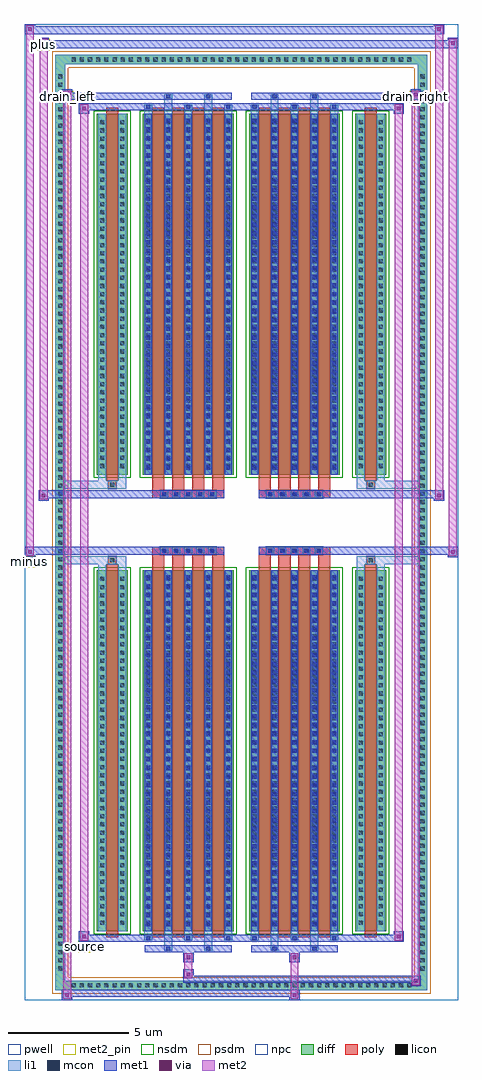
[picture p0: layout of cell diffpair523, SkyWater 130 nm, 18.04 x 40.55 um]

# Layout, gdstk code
import gdstk
lib = gdstk.Library(unit=1e-6, precision=5e-09)
def R(c, l, rs):  # rectangles x0, y0, x1, y1
    for r in rs: c.add(gdstk.rectangle(r[:2], r[2:], *l))
def A(c, l, x, y, w, h, nx, ny, dx, dy):  # array of equal rectangles
    R(c, l, [(x+i*dx, y+j*dy, x+i*dx+w, y+j*dy+h) for i in range(nx) for j in range(ny)])
def P(c, l, *ps):  # polygons
    for p in ps: c.add(gdstk.Polygon(p, *l))
pwell = (64, 44)
diff = (65, 20)
poly = (66, 20)
licon = (66, 44)
li1 = (67, 20)
mcon = (67, 44)
met1 = (68, 20)
via = (68, 44)
met2_pin = (69, 16)
met2 = (69, 20)
nsdm = (93, 44)
psdm = (94, 20)
npc = (95, 20)

diffpair523 = lib.new_cell('diffpair523')
R(diffpair523, pwell, [(-9,-19.84,9,20.71), (-6.32,-18.03,-0.01,-0.805), (0.01,-18.03,6.32,-0.805), (-6.32,0.805,-0.01,18.03), (0.01,0.805,6.32,18.03)])
A(diffpair523, diff, -7.175, -19.44, 0.41, 0.41, 42, 2, 0.34, 38.47)
A(diffpair523, diff, -7.73, -18.735, 0.41, 0.41, 1, 110, 0, 0.34)
A(diffpair523, diff, 7.32, -18.735, 0.41, 0.41, 1, 110, 0, 0.34)
R(diffpair523, diff, [(-7.175,-19.44,7.175,-19.03), (-7.73,-18.735,-7.32,18.735), (7.32,-18.735,7.73,18.735), (-6.01,-16.985,-4.73,-1.985), (-4.09,-16.985,-0.32,-1.985), (0.32,-16.985,4.09,-1.985), (4.73,-16.985,6.01,-1.985), (-6.01,1.985,-4.73,16.985), (-4.09,1.985,-0.32,16.985), (0.32,1.985,4.09,16.985), (4.73,1.985,6.01,16.985), (-7.175,19.03,7.175,19.44)])
P(diffpair523, diff, [(7.73,19.44),(-7.73,19.44),(-7.73,-19.03),(-7.32,-19.03),(-7.32,19.03),(7.32,19.03),(7.32,-19.03),(-7.32,-19.03),(-7.73,-19.03),(-7.73,-19.44),(7.73,-19.44)])
A(diffpair523, poly, -3.7, -17.235, 0.5, 15.5, 4, 2, 0.83, 18.97)
A(diffpair523, poly, 0.71, -17.235, 0.5, 15.5, 4, 2, 0.83, 18.97)
A(diffpair523, poly, -3.7, -1.735, 0.5, 0.4, 4, 2, 0.83, 3.07)
A(diffpair523, poly, 0.71, -1.735, 0.5, 0.4, 4, 2, 0.83, 3.07)
A(diffpair523, poly, -3.37, -1.335, 0.33, 0.33, 5, 2, 0.5, 2.34)
A(diffpair523, poly, 1.04, -1.335, 0.33, 0.33, 5, 2, 0.5, 2.34)
R(diffpair523, poly, [(-5.62,-17.235,-5.12,-1.735), (5.12,-17.235,5.62,-1.735), (-5.535,-1.735,-5.205,-1.405), (-5.535,-1.735,-5.205,-1.405), (5.205,-1.735,5.535,-1.405), (5.205,-1.735,5.535,-1.405), (-3.7,-1.335,-0.71,-1.005), (0.71,-1.335,3.7,-1.005), (-3.7,1.005,-0.71,1.335), (0.71,1.005,3.7,1.335), (-5.535,1.405,-5.205,1.735), (-5.535,1.405,-5.205,1.735), (5.205,1.405,5.535,1.735), (5.205,1.405,5.535,1.735), (-5.62,1.735,-5.12,17.235), (5.12,1.735,5.62,17.235)])
A(diffpair523, licon, -7.055, -19.32, 0.17, 0.17, 42, 2, 0.34, 38.47)
A(diffpair523, licon, -7.61, -18.615, 0.17, 0.17, 1, 110, 0, 0.34)
A(diffpair523, licon, 7.44, -18.615, 0.17, 0.17, 1, 110, 0, 0.34)
A(diffpair523, licon, -5.87, -16.71, 0.17, 0.17, 1, 43, 0, 0.34)
A(diffpair523, licon, -5.04, -16.71, 0.17, 0.17, 1, 43, 0, 0.34)
A(diffpair523, licon, -3.95, -16.71, 0.17, 0.17, 5, 43, 0.83, 0.34)
A(diffpair523, licon, 0.46, -16.71, 0.17, 0.17, 5, 43, 0.83, 0.34)
A(diffpair523, licon, 4.87, -16.71, 0.17, 0.17, 1, 43, 0, 0.34)
A(diffpair523, licon, 5.7, -16.71, 0.17, 0.17, 1, 43, 0, 0.34)
A(diffpair523, licon, -3.29, -1.255, 0.17, 0.17, 5, 2, 0.5, 2.34)
A(diffpair523, licon, 1.12, -1.255, 0.17, 0.17, 5, 2, 0.5, 2.34)
A(diffpair523, licon, -5.87, 2.26, 0.17, 0.17, 1, 43, 0, 0.34)
A(diffpair523, licon, -5.04, 2.26, 0.17, 0.17, 1, 43, 0, 0.34)
A(diffpair523, licon, -3.95, 2.26, 0.17, 0.17, 5, 43, 0.83, 0.34)
A(diffpair523, licon, 0.46, 2.26, 0.17, 0.17, 5, 43, 0.83, 0.34)
A(diffpair523, licon, 4.87, 2.26, 0.17, 0.17, 1, 43, 0, 0.34)
A(diffpair523, licon, 5.7, 2.26, 0.17, 0.17, 1, 43, 0, 0.34)
R(diffpair523, licon, [(-5.455,-1.655,-5.285,-1.485), (5.285,-1.655,5.455,-1.485), (-5.455,1.485,-5.285,1.655), (5.285,1.485,5.455,1.655)])
A(diffpair523, li1, -7.135, -19.4, 0.33, 0.33, 42, 2, 0.34, 38.47)
A(diffpair523, li1, -7.69, -18.695, 0.33, 0.33, 1, 110, 0, 0.34)
A(diffpair523, li1, 7.36, -18.695, 0.33, 0.33, 1, 110, 0, 0.34)
A(diffpair523, li1, -4.03, -17.36, 0.33, 0.375, 3, 2, 1.66, 34.345)
A(diffpair523, li1, -3.95, -17.36, 0.17, 0.17, 3, 2, 1.66, 34.55)
A(diffpair523, li1, 0.38, -17.36, 0.33, 0.375, 3, 2, 1.66, 34.345)
A(diffpair523, li1, 0.46, -17.36, 0.17, 0.17, 3, 2, 1.66, 34.55)
A(diffpair523, li1, -4.03, -16.985, 0.33, 15, 5, 2, 0.83, 18.97)
A(diffpair523, li1, 0.38, -16.985, 0.33, 15, 5, 2, 0.83, 18.97)
A(diffpair523, li1, -5.95, -16.79, 0.33, 0.33, 1, 43, 0, 0.34)
A(diffpair523, li1, -5.12, -16.79, 0.33, 0.33, 1, 43, 0, 0.34)
A(diffpair523, li1, -4.03, -16.79, 0.33, 0.33, 5, 43, 0.83, 0.34)
A(diffpair523, li1, 0.38, -16.79, 0.33, 0.33, 5, 43, 0.83, 0.34)
A(diffpair523, li1, 4.79, -16.79, 0.33, 0.33, 1, 43, 0, 0.34)
A(diffpair523, li1, 5.62, -16.79, 0.33, 0.33, 1, 43, 0, 0.34)
A(diffpair523, li1, -3.95, -16.77, 0.17, 0.17, 5, 41, 0.83, 0.36)
A(diffpair523, li1, -3.95, -16.77, 0.17, 14.57, 5, 2, 0.83, 18.97)
A(diffpair523, li1, 0.46, -16.77, 0.17, 0.17, 5, 41, 0.83, 0.36)
A(diffpair523, li1, 0.46, -16.77, 0.17, 14.57, 5, 2, 0.83, 18.97)
A(diffpair523, li1, -3.37, -1.335, 0.33, 0.33, 5, 2, 0.5, 2.34)
A(diffpair523, li1, 1.04, -1.335, 0.33, 0.33, 5, 2, 0.5, 2.34)
A(diffpair523, li1, -5.95, 2.18, 0.33, 0.33, 1, 43, 0, 0.34)
A(diffpair523, li1, -5.12, 2.18, 0.33, 0.33, 1, 43, 0, 0.34)
A(diffpair523, li1, -4.03, 2.18, 0.33, 0.33, 5, 43, 0.83, 0.34)
A(diffpair523, li1, 0.38, 2.18, 0.33, 0.33, 5, 43, 0.83, 0.34)
A(diffpair523, li1, 4.79, 2.18, 0.33, 0.33, 1, 43, 0, 0.34)
A(diffpair523, li1, 5.62, 2.18, 0.33, 0.33, 1, 43, 0, 0.34)
A(diffpair523, li1, -3.95, 2.2, 0.17, 0.17, 5, 41, 0.83, 0.36)
A(diffpair523, li1, 0.46, 2.2, 0.17, 0.17, 5, 41, 0.83, 0.36)
R(diffpair523, li1, [(-7.73,-19.44,-7.32,-19.03), (-7.73,-19.44,-7.32,-19.03), (-7.32,-19.44,7.32,-19.03), (7.32,-19.44,7.73,-19.03), (7.32,-19.44,7.73,-19.03), (-7.73,-19.03,-7.32,19.03), (7.32,-19.03,7.73,19.03), (-3.2,-17.79,-2.87,-16.985), (-3.12,-17.79,-2.95,-17.62), (-1.54,-17.79,-1.21,-16.985), (-1.46,-17.79,-1.29,-17.62), (1.21,-17.79,1.54,-16.985), (1.29,-17.79,1.46,-17.62), (2.87,-17.79,3.2,-16.985), (2.95,-17.79,3.12,-17.62), (-5.95,-16.985,-5.62,-1.985), (-5.12,-16.985,-4.79,-1.985), (4.79,-16.985,5.12,-1.985), (5.62,-16.985,5.95,-1.985), (-5.95,-1.985,-5.62,-1.405), (-5.12,-1.985,-4.79,-1.405), (4.79,-1.985,5.12,-1.405), (5.62,-1.985,5.95,-1.405), (-7.73,-1.735,-5.535,-1.405), (-5.95,-1.735,-5.535,-1.405), (-5.535,-1.735,-5.205,-1.405), (-5.205,-1.735,-4.79,-1.405), (4.79,-1.735,5.205,-1.405), (5.205,-1.735,5.535,-1.405), (5.205,-1.735,7.73,-1.405), (5.535,-1.735,5.95,-1.405), (-7.73,1.405,-5.535,1.735), (-5.95,1.405,-5.535,1.735), (-5.95,1.405,-5.62,1.985), (-5.535,1.405,-5.205,1.735), (-5.205,1.405,-4.79,1.735), (-5.12,1.405,-4.79,1.985), (4.79,1.405,5.205,1.735), (4.79,1.405,5.12,1.985), (5.205,1.405,5.535,1.735), (5.205,1.405,7.73,1.735), (5.535,1.405,5.95,1.735), (5.62,1.405,5.95,1.985), (-5.95,1.985,-5.62,16.985), (-5.12,1.985,-4.79,16.985), (4.79,1.985,5.12,16.985), (5.62,1.985,5.95,16.985), (-3.2,16.985,-2.87,17.79), (-1.54,16.985,-1.21,17.79), (1.21,16.985,1.54,17.79), (2.87,16.985,3.2,17.79), (-3.12,17.62,-2.95,17.79), (-1.46,17.62,-1.29,17.79), (1.29,17.62,1.46,17.79), (2.95,17.62,3.12,17.79), (-7.73,19.03,-7.32,19.44), (-7.73,19.03,-7.32,19.44), (-7.32,19.03,7.32,19.44), (7.32,19.03,7.73,19.44), (7.32,19.03,7.73,19.44)])
A(diffpair523, mcon, -3.95, -17.36, 0.17, 0.17, 3, 2, 1.66, 34.55)
A(diffpair523, mcon, 0.46, -17.36, 0.17, 0.17, 3, 2, 1.66, 34.55)
A(diffpair523, mcon, -3.95, -16.77, 0.17, 0.17, 5, 41, 0.83, 0.36)
A(diffpair523, mcon, 0.46, -16.77, 0.17, 0.17, 5, 41, 0.83, 0.36)
A(diffpair523, mcon, -3.29, -1.255, 0.17, 0.17, 5, 2, 0.5, 2.34)
A(diffpair523, mcon, 1.12, -1.255, 0.17, 0.17, 5, 2, 0.5, 2.34)
A(diffpair523, mcon, -3.95, 2.2, 0.17, 0.17, 5, 41, 0.83, 0.36)
A(diffpair523, mcon, 0.46, 2.2, 0.17, 0.17, 5, 41, 0.83, 0.36)
R(diffpair523, mcon, [(-3.12,-17.79,-2.95,-17.62), (-1.46,-17.79,-1.29,-17.62), (1.29,-17.79,1.46,-17.62), (2.95,-17.79,3.12,-17.62), (-3.12,17.62,-2.95,17.79), (-1.46,17.62,-1.29,17.79), (1.29,17.62,1.46,17.79), (2.95,17.62,3.12,17.79)])
A(diffpair523, met1, -4.01, -17.42, 0.29, 0.29, 3, 2, 1.66, 34.55)
A(diffpair523, met1, 0.4, -17.42, 0.29, 0.29, 3, 2, 1.66, 34.55)
A(diffpair523, met1, -4.01, -16.985, 0.29, 15, 5, 2, 0.83, 18.97)
A(diffpair523, met1, 0.4, -16.985, 0.29, 15, 5, 2, 0.83, 18.97)
A(diffpair523, met1, -4.01, -16.83, 0.29, 0.29, 5, 41, 0.83, 0.36)
A(diffpair523, met1, 0.4, -16.83, 0.29, 0.29, 5, 41, 0.83, 0.36)
A(diffpair523, met1, -3.35, -1.315, 0.29, 0.29, 5, 2, 0.5, 2.34)
A(diffpair523, met1, 1.06, -1.315, 0.29, 0.29, 5, 2, 0.5, 2.34)
A(diffpair523, met1, -4.01, 2.14, 0.29, 0.29, 5, 41, 0.83, 0.36)
A(diffpair523, met1, 0.4, 2.14, 0.29, 0.29, 5, 41, 0.83, 0.36)
R(diffpair523, met1, [(-7.46,-19.84,-7.03,-19.41), (1.99,-19.84,2.42,-19.41), (-7.46,-19.7,2.42,-19.41), (7.03,-19.27,7.46,-18.84), (-2.42,-19.13,7.46,-18.84), (-2.42,-18.99,-1.99,-18.56), (-2.42,-18.28,-1.99,-17.85), (1.99,-18.28,2.42,-17.85), (-4.01,-17.85,-0.4,-17.56), (-3.18,-17.85,-2.89,-17.56), (-1.52,-17.85,-1.23,-17.56), (0.4,-17.85,4.01,-17.56), (1.23,-17.85,1.52,-17.56), (2.89,-17.85,3.18,-17.56), (-6.75,-17.42,-6.32,-16.99), (-6.75,-17.42,-4.01,-17.13), (-4.01,-17.42,-0.4,-17.13), (-0.4,-17.42,0.4,-17.13), (0.4,-17.42,4.01,-17.13), (4.01,-17.42,6.75,-17.13), (6.32,-17.42,6.75,-16.99), (-9,-1.435,-8.57,-1.005), (8.57,-1.435,9,-1.005), (-9,-1.335,-0.71,-1.005), (-3.7,-1.335,-0.71,-1.005), (0.71,-1.335,3.7,-1.005), (0.71,-1.335,9,-1.005), (-8.43,0.905,-8,1.335), (8,0.905,8.43,1.335), (-8.43,1.005,-3.7,1.335), (-3.7,1.005,-0.71,1.335), (0.71,1.005,3.7,1.335), (3.7,1.005,8.43,1.335), (-6.75,16.99,-6.32,17.42), (6.32,16.99,6.75,17.42), (-6.75,17.13,-4.01,17.42), (-4.01,17.13,-0.4,17.42), (-0.4,17.13,0.4,17.42), (0.4,17.13,4.01,17.42), (4.01,17.13,6.75,17.42), (-7.46,17.56,-7.03,17.99), (-7.46,17.56,-4.01,17.85), (-4.01,17.56,-0.4,17.85), (-3.18,17.56,-2.89,17.85), (-1.52,17.56,-1.23,17.85), (0.4,17.56,4.01,17.85), (1.23,17.56,1.52,17.85), (2.89,17.56,3.18,17.85), (4.01,17.56,7.46,17.85), (7.03,17.56,7.46,17.99), (-8.43,19.71,-8,20.14), (-8.43,19.71,-6.32,20.04), (-6.32,19.71,6.32,20.04), (6.32,19.71,9,20.04), (8.57,19.71,9,20.14), (-9,20.28,-8.57,20.71), (-9,20.28,-6.32,20.61), (-6.32,20.28,6.32,20.61), (6.32,20.28,8.43,20.61), (8,20.28,8.43,20.71)])
R(diffpair523, via, [(-7.32,-19.7,-7.17,-19.55), (2.13,-19.7,2.28,-19.55), (7.17,-19.13,7.32,-18.98), (-2.28,-18.85,-2.13,-18.7), (-2.28,-18.14,-2.13,-17.99), (2.13,-18.14,2.28,-17.99), (-6.61,-17.28,-6.46,-17.13), (6.46,-17.28,6.61,-17.13), (-8.86,-1.295,-8.71,-1.145), (8.71,-1.295,8.86,-1.145), (-8.29,1.045,-8.14,1.195), (8.14,1.045,8.29,1.195), (-6.61,17.13,-6.46,17.28), (6.46,17.13,6.61,17.28), (-7.32,17.7,-7.17,17.85), (7.17,17.7,7.32,17.85), (-8.29,19.85,-8.14,20), (8.71,19.85,8.86,20), (-8.86,20.42,-8.71,20.57), (8.14,20.42,8.29,20.57)])
R(diffpair523, met2_pin, [(-6.785,-17.87,-6.285,-17.37), (-9.035,-1.885,-8.535,-1.385), (-7.495,17.44,-6.995,17.94), (6.995,17.44,7.495,17.94), (-8.465,19.59,-7.965,20.09)])
R(diffpair523, met2, [(-7.41,-19.79,-7.08,-19.46), (-7.41,-19.79,-7.08,17.94), (2.04,-19.79,2.37,-19.46), (2.04,-19.46,2.37,-18.23), (7.08,-19.22,7.41,-18.89), (7.08,-19.22,7.41,17.94), (-2.37,-18.94,-2.04,-18.61), (-2.37,-18.61,-2.04,-18.23), (-2.37,-18.23,-2.04,-17.9), (2.04,-18.23,2.37,-17.9), (-6.7,-17.37,-6.37,-17.04), (-6.7,-17.37,-6.37,17.37), (6.37,-17.37,6.7,-17.04), (6.37,-17.37,6.7,17.37), (-8.95,-1.385,-8.62,-1.055), (-8.95,-1.385,-8.62,20.66), (8.62,-1.385,8.95,-1.055), (8.62,-1.385,8.95,20.09), (-8.38,0.955,-8.05,1.285), (-8.38,0.955,-8.05,20.09), (8.05,0.955,8.38,1.285), (8.05,0.955,8.38,20.66), (-6.7,17.04,-6.37,17.37), (6.37,17.04,6.7,17.37), (-7.41,17.61,-7.08,17.94), (7.08,17.61,7.41,17.94), (-8.38,19.76,-8.05,20.09), (8.62,19.76,8.95,20.09), (-8.95,20.33,-8.62,20.66), (8.05,20.33,8.38,20.66)])
P(diffpair523, met2, [(8.95,-1.385),(8.95,-1.385),(8.95,-1.055),(8.95,-1.055)],
  [(8.95,19.76),(8.95,19.76),(8.95,20.09),(8.95,20.09)],
  [(-8.62,-1.385),(-8.62,-1.385),(-8.62,-1.055),(-8.62,-1.055)],
  [(-8.62,20.33),(-8.62,20.33),(-8.62,20.66),(-8.62,20.66)],
  [(8.38,0.955),(8.38,0.955),(8.38,1.285),(8.38,1.285)],
  [(8.38,20.33),(8.38,20.33),(8.38,20.66),(8.38,20.66)],
  [(-8.05,0.955),(-8.05,0.955),(-8.05,1.285),(-8.05,1.285)],
  [(-8.05,19.76),(-8.05,19.76),(-8.05,20.09),(-8.05,20.09)],
  [(-7.08,-19.79),(-7.08,-19.79),(-7.08,-19.46),(-7.08,-19.46)],
  [(-7.08,17.61),(-7.08,17.61),(-7.08,17.94),(-7.08,17.94)],
  [(7.41,-19.22),(7.41,-19.22),(7.41,-18.89),(7.41,-18.89)],
  [(7.41,17.61),(7.41,17.61),(7.41,17.94),(7.41,17.94)],
  [(-6.37,-17.37),(-6.37,-17.37),(-6.37,-17.04),(-6.37,-17.04)],
  [(-6.37,17.04),(-6.37,17.04),(-6.37,17.37),(-6.37,17.37)],
  [(6.7,-17.37),(6.7,-17.37),(6.7,-17.04),(6.7,-17.04)],
  [(6.7,17.04),(6.7,17.04),(6.7,17.37),(6.7,17.37)])
R(diffpair523, nsdm, [(-6.14,-17.115,-4.6,-1.855), (-4.22,-17.115,-0.19,-1.855), (0.19,-17.115,4.22,-1.855), (4.6,-17.115,6.14,-1.855), (-6.14,1.855,-4.6,17.115), (-4.22,1.855,-0.19,17.115), (0.19,1.855,4.22,17.115), (4.6,1.855,6.14,17.115)])
P(diffpair523, psdm, [(7.86,19.57),(-7.86,19.57),(-7.86,-18.9),(-7.19,-18.9),(-7.19,18.9),(7.19,18.9),(7.19,-18.9),(-7.19,-18.9),(-7.86,-18.9),(-7.86,-19.57),(7.86,-19.57)])
A(diffpair523, npc, -3.39, -1.355, 0.37, 0.37, 5, 2, 0.5, 2.34)
A(diffpair523, npc, 1.02, -1.355, 0.37, 0.37, 5, 2, 0.5, 2.34)
R(diffpair523, npc, [(-5.555,-1.755,-5.185,-1.385), (5.185,-1.755,5.555,-1.385), (-3.39,-1.355,-2.52,-0.985), (-3.39,-1.355,-2.52,-0.985), (-2.89,-1.355,-2.02,-0.985), (-2.89,-1.355,-2.02,-0.985), (-2.39,-1.355,-1.52,-0.985), (-2.39,-1.355,-1.52,-0.985), (-1.89,-1.355,-1.02,-0.985), (-1.89,-1.355,-1.02,-0.985), (1.02,-1.355,1.89,-0.985), (1.02,-1.355,1.89,-0.985), (1.52,-1.355,2.39,-0.985), (1.52,-1.355,2.39,-0.985), (2.02,-1.355,2.89,-0.985), (2.02,-1.355,2.89,-0.985), (2.52,-1.355,3.39,-0.985), (2.52,-1.355,3.39,-0.985), (-3.39,0.985,-2.52,1.355), (-3.39,0.985,-2.52,1.355), (-2.89,0.985,-2.02,1.355), (-2.89,0.985,-2.02,1.355), (-2.39,0.985,-1.52,1.355), (-2.39,0.985,-1.52,1.355), (-1.89,0.985,-1.02,1.355), (-1.89,0.985,-1.02,1.355), (1.02,0.985,1.89,1.355), (1.02,0.985,1.89,1.355), (1.52,0.985,2.39,1.355), (1.52,0.985,2.39,1.355), (2.02,0.985,2.89,1.355), (2.02,0.985,2.89,1.355), (2.52,0.985,3.39,1.355), (2.52,0.985,3.39,1.355), (-5.555,1.385,-5.185,1.755), (5.185,1.385,5.555,1.755)])
diffpair523.add(gdstk.Label('minus', (-8.785,-1.635), layer=69, texttype=5))
diffpair523.add(gdstk.Label('drain_right', (7.245,17.69), layer=69, texttype=5))
diffpair523.add(gdstk.Label('drain_left', (-7.245,17.69), layer=69, texttype=5))
diffpair523.add(gdstk.Label('source', (-6.535,-17.62), layer=69, texttype=5))
diffpair523.add(gdstk.Label('plus', (-8.215,19.84), layer=69, texttype=5))

lib.write_gds('diffpair523.gds')
